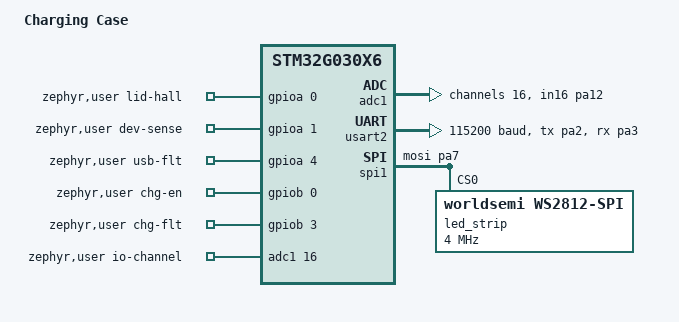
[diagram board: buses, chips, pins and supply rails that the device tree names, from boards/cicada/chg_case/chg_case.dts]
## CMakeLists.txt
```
# SPDX-License-Identifier: Apache-2.0

cmake_minimum_required(VERSION 3.20.0)
find_package(Zephyr REQUIRED HINTS $ENV{ZEPHYR_BASE})
project(blinky)

# target_sources(app PRIVATE src/main.c)
target_sources(app PRIVATE src/main.c src/led_fx.c)
```

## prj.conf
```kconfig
CONFIG_GPIO=y
CONFIG_LED_STRIP=y
CONFIG_ADC=y
```

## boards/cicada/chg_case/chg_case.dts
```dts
/*
 * Copyright (c) 2025 Siratul Islam
 *
 * SPDX-License-Identifier: Apache-2.0
 */

/dts-v1/;
#include <st/g0/stm32g030X6.dtsi>
#include <st/g0/stm32g030f6px-pinctrl.dtsi>
#include <zephyr/dt-bindings/led/led.h>  
#include <zephyr/dt-bindings/spi/spi.h>

/ {
	model = "Charging Case";
	compatible = "dennischang,chg-case";

	chosen {
		zephyr,console = &usart2;
		zephyr,shell-uart = &usart2;
		zephyr,sram = &sram0;
		zephyr,flash = &flash0;
	};

	zephyr,user{
		lid-hall-gpios = <&gpioa 0 GPIO_ACTIVE_HIGH>; // PIN 7, LID_HALL_N (0V = closed)
		dev-sense-gpios = <&gpioa 1 GPIO_ACTIVE_HIGH>; // PIN 8, DEV_SENSE_N (0V = device present)
		usb-flt-gpios = <&gpioa 4 GPIO_ACTIVE_HIGH>; // PIN 9, USB_FLT_N (0V = fault)
		chg-en-gpios = <&gpiob 0 GPIO_ACTIVE_HIGH>; // PIN 15, EFUSE_CHG_EN (0V = disabled)
		chg-flt-gpios = <&gpiob 3 (GPIO_ACTIVE_HIGH | GPIO_PULL_UP)>; // PIN 20, EFUSE_CHG_FLT (0V = fault)
		io-channels = <&adc1 16>;                                       // PIN 17, PA12 = CHG_IMON
	};
};

&adc1 {
	clocks = <&rcc STM32_CLOCK(APB1_2, 20)>,
		 <&rcc STM32_SRC_SYSCLK ADC_SEL(0)>;
	clock-names = "adcx", "adc_ker";
	pinctrl-0 = <&adc1_in16_pa12>;
	pinctrl-names = "default";
	st,adc-clock-source = "ASYNC";
	st,adc-prescaler = <4>;
	vref-mv = <3300>;                  /* VDDA = 3V3 rail */
	#address-cells = <1>;
	#size-cells = <0>;
	status = "okay";

	channel@10 {                       /* @10 hex = channel 16 */
		reg = <16>;
		zephyr,gain = "ADC_GAIN_1";
		zephyr,reference = "ADC_REF_INTERNAL";
		zephyr,acquisition-time = <ADC_ACQ_TIME_DEFAULT>;
		zephyr,resolution = <12>;
	};
};

&clk_hsi {
	status = "okay";
};

&clk_lse {
	status = "okay";
};

&pll {
	div-m = <1>;
	mul-n = <8>;
	div-r = <2>;
	clocks = <&clk_hsi>;
	status = "okay";
};

&rcc {
	clocks = <&pll>;
	clock-frequency = <DT_FREQ_M(64)>;
	ahb-prescaler = <1>;
	apb1-prescaler = <1>;
};


&usart2 {
	pinctrl-0 = <&usart2_tx_pa2 &usart2_rx_pa3>;
	pinctrl-names = "default";
	current-speed = <115200>;
	status = "okay";
};

/* 

&i2c2 {
	pinctrl-0 = <&i2c2_scl_pa11 &i2c2_sda_pa12>;
	pinctrl-names = "default";
	clock-frequency = <I2C_BITRATE_FAST>;
	status = "okay";
};
*/

&spi1 {
	pinctrl-0 = <&spi1_mosi_pa7>;
	pinctrl-names = "default";
	status = "okay";

	led_strip: ws2812b@0 {
		compatible = "worldsemi,ws2812-spi";
		reg = <0>;
		duplex = <SPI_HALF_DUPLEX>;
		spi-max-frequency = <4000000>;
		/* frame-format = <32768>; */
		spi-one-frame = <0x70>;
		spi-zero-frame = <0x40>;
		chain-length = <4>;                 // D1–D4
		color-mapping = <LED_COLOR_ID_GREEN // WS2812B expects colors in G, R, B order
				 LED_COLOR_ID_RED
				 LED_COLOR_ID_BLUE>;
	};
};
```

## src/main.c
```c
#include <zephyr/kernel.h>
#include <zephyr/drivers/gpio.h>
#include <zephyr/drivers/adc.h>
#include "led_fx.h"

/* CHG_IMON (PA12): first entry of io-channels in zephyr,user */
static const struct adc_dt_spec imon = ADC_DT_SPEC_GET(DT_PATH(zephyr_user));

#define IMON_SAMPLES 16   /* average to smooth the ±1 mV (≈0.5 mA) flicker */

static int32_t imon_mv(void)
{
	int16_t raw;
	struct adc_sequence seq = { .buffer = &raw, .buffer_size = sizeof(raw) };
	int32_t sum = 0;

	adc_sequence_init_dt(&imon, &seq);
	for (int i = 0; i < IMON_SAMPLES; i++) {
		if (adc_read_dt(&imon, &seq)) {
			return -1;
		}
		sum += raw;
	}
	int32_t mv = sum / IMON_SAMPLES;

	adc_raw_to_millivolts_dt(&imon, &mv);
	return mv;
}

/* Bench two-point calibration (meter in series with a J5 load), CHG_CASE board 2026-11-23:
 *   7.43 mA → 30 mV,  15.32 mA → 45 mV   (≈0.53 mA/mV, zero ≈ 16 mV)
 * ponytail: linear fit from two low-current points; TPS259631 IMON is only specified
 * 0.125–2 A, so re-calibrate with a higher load before trusting readings above ~20 mA. */
#define CAL_MV1  30
#define CAL_UA1  7430
#define CAL_MV2  45
#define CAL_UA2  15320

static int32_t imon_ua(int32_t mv)
{
	int32_t ua = CAL_UA1 + (mv - CAL_MV1) * (CAL_UA2 - CAL_UA1) / (CAL_MV2 - CAL_MV1);

	return ua < 5000 ? 0 : ua;           /* < 5 mA is IMON offset/noise (out of spec) → 0 */
}

static const struct gpio_dt_spec chg_en = GPIO_DT_SPEC_GET(DT_PATH(zephyr_user), chg_en_gpios);

int chg_init(void){
	if(!gpio_is_ready_dt(&chg_en)) {
		return -ENODEV;
	}
	return gpio_pin_configure_dt(&chg_en, GPIO_OUTPUT_INACTIVE);
}

void chg_set(bool on)
{
	gpio_pin_set_dt(&chg_en, on);
}

int main(void)
{
	if(chg_init()) {
		printk("charging enable not ready\n");
		return 0;
	}
	if (!adc_is_ready_dt(&imon) || adc_channel_setup_dt(&imon)) {
		printk("adc not ready\n");
		return 0;
	}
	// if (led_fx_init()) {
	// 	printk("strip not ready\n");
	// 	return 0;
	// }

	while (1) {
		chg_set(true);

		/* LEDs off while sampling: their ~100 mA ground return shifts CHG_IMON by ~25 mV */
		static struct led_rgb off[NUM_LEDS];
		update_color(off);
		k_msleep(5);

		int32_t mv = imon_mv();          /* one (averaged) read, so mV and mA match */
		int32_t ua = imon_ua(mv);
		printk("chg ON  imon=%d mV  %d.%02d mA\n", mv, ua / 1000, (ua % 1000) / 10);
		// k_msleep(500);
		
		// printk("HelloWorld\n");
		bounce();                        /* accelerate / decelerate (default) */
		// bounce(.ease = ease_spring);
	}
}
```

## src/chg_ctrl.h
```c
#pragma once
#include <zephyr/kernel.h>
```

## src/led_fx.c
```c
/*
 * led_fx: status-LED effects for the CHG_CASE WS2812B chain (UV_LID D1–D4).
 * API in led_fx.h. Strip comes from devicetree node label `led_strip`
 * (worldsemi,ws2812-spi on SPI1, see boards/cicada/chg_case/chg_case.dts).
 *
 * Note: SPI1 runs half-duplex TX-only (duplex = <SPI_HALF_DUPLEX> in chg_case.dts).
 * Full-duplex hangs waiting for RXNE because no SCK pin is assigned; PA1 stays DEV_SENSE.
 */
#include <math.h>
#include <stdlib.h>
#include <zephyr/kernel.h>
#include "led_fx.h"

/* Tuning knobs */

#define SUB        50     /* position resolution: sub-steps per LED */
#define WIDTH      120    /* glow radius in sub-steps (50 = 1 LED) */
#define FRAME_MS   8      /* frame period; >280 µs needed for WS2812B latch */
#define DAMPING    5.0f   /* spring: 2 = loose, 10 = firm */
#define WOBBLES    3.0f   /* spring: wobbles per trip */

/* Motion curves: u = trip progress 0..1 → glow position 0..1 (spring overshoots). */
float ease_linear(float u) { return u; }
float ease_in_out(float u) { return u * u * (3 - 2 * u); }   /* smoothstep */
/* ponytail: soft-float expf/cosf add ~5 KB flash on M0+ (only linked if ease_spring is used);
 * swap for a lookup table if space runs out */
float ease_spring(float u) { return 1 - expf(-DAMPING * u) * cosf(WOBBLES * 2 * 3.14159f * u); }

static const struct device *const strip = DEVICE_DT_GET(STRIP_NODE);
static struct led_rgb pixels[NUM_LEDS];

int led_fx_init(void)
{
	return device_is_ready(strip) ? 0 : -ENODEV;
}

/* Blocking: one round trip (out + back) takes 2 * c.ms.
 * ponytail: blocks the caller; run from its own thread once case logic (UV, lid) lands. */
void bounce_run(struct bounce_cfg c)
{
	/* zero/omitted field → default */
	if (!c.color.r && !c.color.g && !c.color.b) {
		c.color = (struct led_rgb){ .r = 200, .g = 200, .b = 200 };
	}
	if (!c.ease) c.ease = ease_in_out;
	if (!c.ms)   c.ms = 1000;

	const int span = (NUM_LEDS - 1) * SUB;   /* first LED → last, in sub-steps */
	const int steps = c.ms / FRAME_MS;

	for (int trip = 0; trip < 2; trip++) {                       /* 0 = out, 1 = back */
		for (int s = 0; s <= steps; s++) {
			float e = c.ease((float)s / steps);
			int pos = trip ? (1 - e) * span : e * span;          /* glow center */

			/* refill every frame: led_strip_update_rgb() may overwrite pixels */
			for (int i = 0; i < NUM_LEDS; i++) {
				int d = abs(i * SUB - pos);                       /* distance to glow center */
				int b = d >= WIDTH ? 0 : 255 * (WIDTH - d) * (WIDTH - d) / (WIDTH * WIDTH);   /* squared falloff */

				pixels[i] = (struct led_rgb){
					.r = c.color.r * b / 255,
					.g = c.color.g * b / 255,
					.b = c.color.b * b / 255,
				};
			}
			led_strip_update_rgb(strip, pixels, NUM_LEDS);
			k_msleep(FRAME_MS);
		}
	}
}

void update_color(struct led_rgb colors[static NUM_LEDS]){
	led_strip_update_rgb(strip, colors, NUM_LEDS);
}
```

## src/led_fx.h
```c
#pragma once

#include <zephyr/drivers/led_strip.h>

#define STRIP_NODE DT_NODELABEL(led_strip)
#define NUM_LEDS   DT_PROP(STRIP_NODE, chain_length)

float ease_linear(float u);
float ease_in_out(float u);
float ease_spring(float u);

struct bounce_cfg {
	struct led_rgb color;      /* default: white (200) */
	float (*ease)(float u);    /* default: ease_in_out */
	uint16_t ms;               /* one-way trip time, default: 1000 */
};


int led_fx_init(void); // called once, 0 -> ok

void bounce_run(struct bounce_cfg c);

void update_color(struct led_rgb colors[static NUM_LEDS]);





/* bounce();  bounce(.ease = ease_spring, .color = { .b = 255 }, .ms = 600); */
#define bounce(...) bounce_run((struct bounce_cfg){ __VA_ARGS__ })
```
